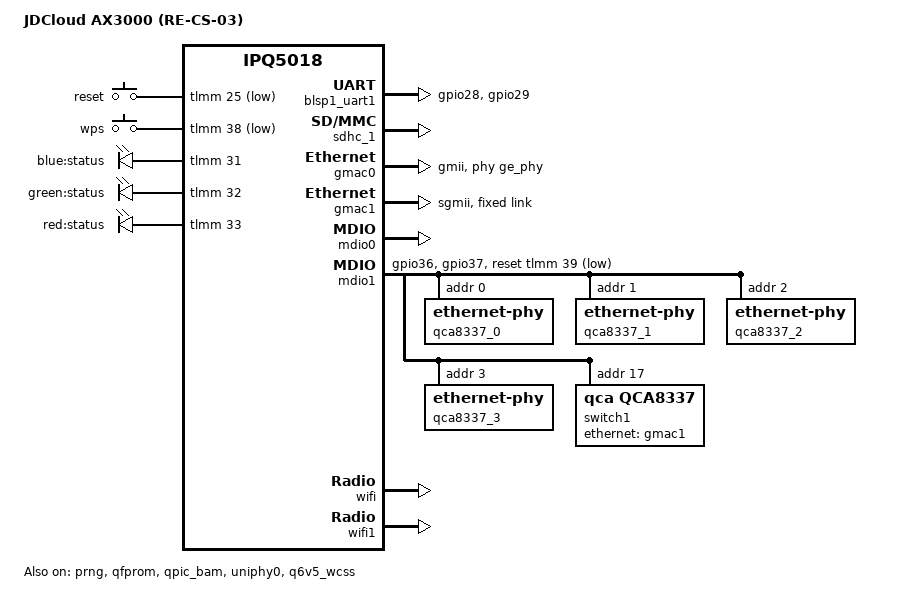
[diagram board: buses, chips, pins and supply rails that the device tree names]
// SPDX-License-Identifier: GPL-2.0-or-later OR MIT

/dts-v1/;

#include "ipq5018.dtsi"
#include "ipq5018-ess.dtsi"
#include "ipq5018-qcn6122.dtsi"

#include <dt-bindings/gpio/gpio.h>
#include <dt-bindings/input/input.h>
#include <dt-bindings/leds/common.h>

/ {
	model = "JDCloud AX3000 (RE-CS-03)";
	compatible = "jdcloud,ax3000", "qcom,ipq5018";

	aliases {
		serial0 = &blsp1_uart1;
		led-boot = &led_green;
		led-failsafe = &led_red;
		led-running = &led_green;
		led-upgrade = &led_blue;
		label-mac-device = &gmac1;
	};

	chosen {
		/* eMMC (GPT): root= supplied by APPSBL, like stock/Nwrt */
		bootargs-append = " swiotlb=1 coherent_pool=2M";
		stdout-path = "serial0:115200n8";
	};

	keys {
		compatible = "gpio-keys";
		pinctrl-0 = <&button_pins>;
		pinctrl-names = "default";

		reset-button {
			label = "reset";
			gpios = <&tlmm 25 GPIO_ACTIVE_LOW>;
			linux,code = <KEY_RESTART>;
		};

		wps-button {
			label = "wps";
			gpios = <&tlmm 38 GPIO_ACTIVE_LOW>;
			linux,code = <KEY_WPS_BUTTON>;
		};
	};

	leds {
		compatible = "gpio-leds";
		pinctrl-0 = <&led_pins>;
		pinctrl-names = "default";

		/* Polarity from Nwrt DTB flags (0x00 = active high), best guess */
		led_blue: led-0 {
			label = "blue:status";
			gpios = <&tlmm 31 GPIO_ACTIVE_HIGH>;
			default-state = "off";
		};

		led_green: led-1 {
			label = "green:status";
			gpios = <&tlmm 32 GPIO_ACTIVE_HIGH>;
			default-state = "on";
		};

		led_red: led-2 {
			label = "red:status";
			gpios = <&tlmm 33 GPIO_ACTIVE_HIGH>;
			default-state = "off";
		};
	};
};

&sleep_clk {
	clock-frequency = <32000>;
};

&xo_board_clk {
	clock-div = <4>;
	clock-mult = <1>;
};

&blsp1_uart1 {
	status = "okay";

	pinctrl-0 = <&serial_0_pins>;
	pinctrl-names = "default";
};

&prng {
	status = "okay";
};

&qfprom {
	status = "okay";
};

&qpic_bam {
	status = "okay";
};

&sdhc_1 {
	status = "okay";
};

&uniphy0 {
	status = "okay";

	assigned-clocks = <&uniphy0 UNIPHY_CLK_REF>;
	assigned-clock-rates = <UNIPHY_REFCLK_25MHZ>;
};

// MAC0 -> internal GE PHY -> WAN (no external switch involved)
&gmac0 {
	status = "okay";

	phy-handle = <&ge_phy>;
	phy-mode = "gmii";
	label = "wan";
};

// MAC1 -> SGMII -> QCA8337 CPU port
&gmac1 {
	status = "okay";

	phy-mode = "sgmii";

	fixed-link {
		speed = <1000>;
		full-duplex;
	};
};

&mdio0 {
	status = "okay";
};

// MAC0 -> GE Phy (internal)
&ge_phy {
	qcom,dac-preset-short-cable;
};

&mdio1 {
	status = "okay";

	pinctrl-0 = <&mdio1_pins>;
	pinctrl-names = "default";
	reset-gpios = <&tlmm 39 GPIO_ACTIVE_LOW>;

	// QCA8337 Phy0 -> LAN1
	qca8337_0: ethernet-phy@0 {
		reg = <0>;
	};

	// QCA8337 Phy1 -> LAN2
	qca8337_1: ethernet-phy@1 {
		reg = <1>;
	};

	// QCA8337 Phy2 -> LAN3
	qca8337_2: ethernet-phy@2 {
		reg = <2>;
	};

	// QCA8337 Phy3 -> LAN4
	qca8337_3: ethernet-phy@3 {
		reg = <3>;
	};

	// QCA8337 switch
	switch1: ethernet-switch@17 {
		compatible = "qca,qca8337";
		reg = <17>;
		#address-cells = <1>;
		#size-cells = <0>;

		ethernet-ports {
			#address-cells = <1>;
			#size-cells = <0>;

			ethernet-port@0 {
				reg = <0>;
				phy-mode = "sgmii";
				ethernet = <&gmac1>;
				qca,sgmii-enable-pll;

				fixed-link {
					speed = <1000>;
					full-duplex;
				};
			};

			ethernet-port@1 {
				reg = <1>;
				label = "lan1";
				phy-handle = <&qca8337_0>;
			};

			ethernet-port@2 {
				reg = <2>;
				label = "lan2";
				phy-handle = <&qca8337_1>;
			};

			ethernet-port@3 {
				reg = <3>;
				label = "lan3";
				phy-handle = <&qca8337_2>;
			};

			ethernet-port@4 {
				reg = <4>;
				label = "lan4";
				phy-handle = <&qca8337_3>;
			};
		};
	};
};

&tlmm {
	button_pins: button-state {
		button-pins {
			pins = "gpio25", "gpio38";
			function = "gpio";
			drive-strength = <8>;
			bias-pull-up;
		};

	};

	led_pins: led-state {
		pins = "gpio31", "gpio32", "gpio33";
		function = "gpio";
		drive-strength = <8>;
		bias-pull-down;
	};

	mdio1_pins: mdio-state {
		mdc-pins {
			pins = "gpio36";
			function = "mdc";
			drive-strength = <8>;
			bias-pull-up;
		};

		mdio-pins {
			pins = "gpio37";
			function = "mdio";
			drive-strength = <8>;
			bias-pull-up;
		};
	};

	switch_reset_pins: switch-reset-state {
		pins = "gpio39";
		function = "gpio";
		drive-strength = <8>;
		bias-pull-down;
	};

	serial_0_pins: uart0-state {
		pins = "gpio28", "gpio29";
		function = "blsp0_uart1";
		drive-strength = <8>;
		bias-disable;
	};
};

/*
 * GWRT mesh AP: Wi-Fi radios enabled from day one (same IPQ5018+QCN6122
 * as PZ-L8). Board data comes from package/firmware/jdcloud-ax3000-wifi-board
 * (stock BDFs extracted from Nwrt factory image as board.bin fallback);
 * calibration/MAC from eMMC 0:ART via 11-ath11k-caldata (jdcloud,ax3000).
 * If the box OOMs, revisit fw-memory-mode / BDF.
 */
&q6v5_wcss {
	status = "okay";
};

&wifi {
	// IPQ5018
	qcom,rproc = <&q6_wcss_pd1>;
	qcom,ath11k-calibration-variant = "JDCloud-AX3000";
	qcom,ath11k-fw-memory-mode = <1>;
	qcom,bdf-addr = <0x4c400000>;

	ieee80211-freq-limit = <2400000 2483000>;

	status = "okay";
};

&wifi1 {
	// QCN6102 5G
	qcom,rproc = <&q6_wcss_pd2>;
	qcom,userpd-subsys-name = "q6v5_wcss_userpd2";
	qcom,ath11k-calibration-variant = "JDCloud-AX3000";
	qcom,ath11k-fw-memory-mode = <1>;
	qcom,bdf-addr = <0x4d100000>;
	qcom,m3-dump-addr = <0x4df00000>;

	ieee80211-freq-limit = <5150000 5730000>;

	status = "okay";
};
